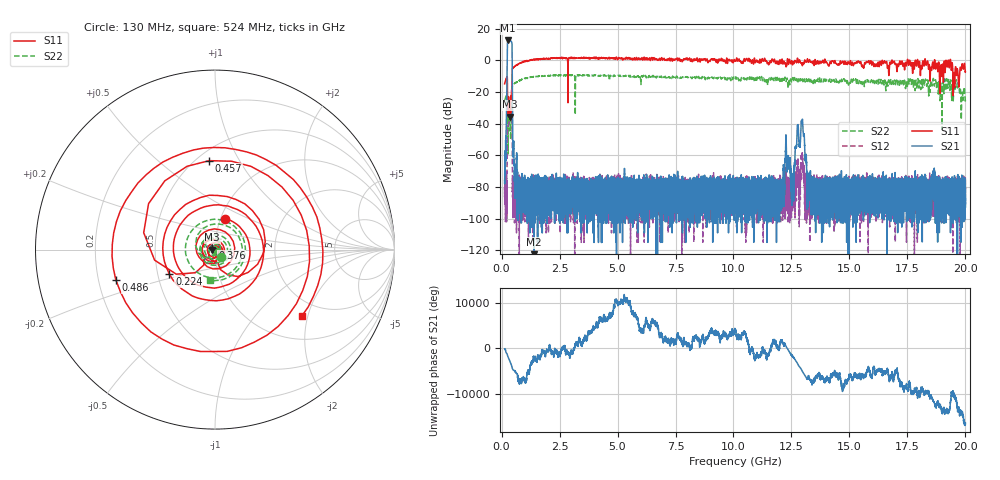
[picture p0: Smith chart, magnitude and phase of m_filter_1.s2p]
!Created with skrf (http://scikit-rf.org).
# GHz S RI R 50.0
!freq ReS11 ImS11 ReS21 ImS21 ReS12 ImS12 ReS22 ImS22
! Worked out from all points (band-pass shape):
!   20013 points, 130 MHz to 20 GHz, reference 50 ohm
!   highest |S21| = 12.52 dB at 284 MHz (marker M1); lowest = -178.5 dB at 1.393 GHz (marker M2)
!   |S21| within 3 dB of the highest: 249.7 MHz to 450.5 MHz (200.8 MHz wide, 57.3 % of centre)
!   lowest |S11| = -35.7 dB at 373 MHz (marker M3), VSWR 1.03, Z = 48.4 - j0.0253 ohm
!   |S11| at or under -10 dB: start of sweep to 451.7 MHz; 19.51786 GHz to 19.54598 GHz (28.12 MHz wide, 0.144 % of centre); 19.68616 GHz to 19.74544 GHz (59.28 MHz wide, 0.301 % of centre) (the widest 3 of 9)
!   |S22| runs from -59.2 to -9.1 dB; largest |S21 - S12| = 4.2
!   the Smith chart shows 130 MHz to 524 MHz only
!   S11 on the Smith chart (normalised r, x): 130 MHz: 1.05, +0.37; 224 MHz: 0.58, -0.17; 376 MHz: 0.97, +0.02; 457 MHz: 0.57, +0.76; 486 MHz: 0.27, -0.14; 524 MHz: 1.54, -1.83
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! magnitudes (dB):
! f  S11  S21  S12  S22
! 130 MHz  -14.9  -75.9  -80.8  -25.5
! 224 MHz  -10.8  -23.2  -76.5  -21.3
! 284 MHz  -35.2  12.5  -41.2  -59.2
! 373 MHz  -35.7  12.2  -36.9  -41.3
! 376 MHz  -35.3  12.2  -36.8  -42.1
! 457 MHz  -6.1  -5.7  -51.7  -16.8
! 486 MHz  -4.8  -58.1  -82.0  -15.6
! 524 MHz  -4.3  -52.6  -86.7  -15.2
! 584 MHz  -3.7  -74.3  -95.6  -14.4
! 774 MHz  -2.0  -83.6  -84.2  -12.7
! 1.393 GHz  0.5  -178.5  -82.2  -10.4
! 3.442 GHz  1.9  -85.7  -82.1  -9.2
! 6.754 GHz  0.1  -89.3  -81.2  -10.6
! 10.06 GHz  -0.5  -77.5  -78.2  -12.0
! 12.03 GHz  -0.9  -82.4  -103.0  -12.7
! 12.33 GHz  1.0  -65.9  -84.9  -13.2
! 12.54 GHz  -2.9  -78.1  -94.9  -11.2
! 12.73 GHz  -1.2  -51.5  -75.5  -11.7
! 12.97 GHz  -3.3  -37.6  -59.9  -11.9
! 13.38 GHz  -1.1  -78.3  -90.2  -12.9
! 16.69 GHz  -7.3  -84.4  -92.2  -12.5
! 20 GHz  -7.2  -87.4  -80.7  -25.1
